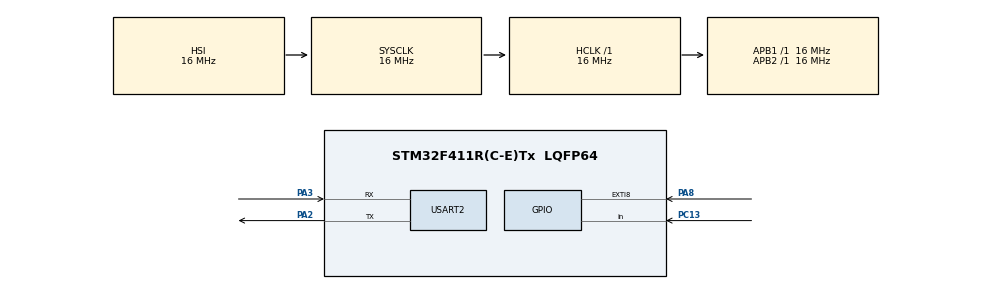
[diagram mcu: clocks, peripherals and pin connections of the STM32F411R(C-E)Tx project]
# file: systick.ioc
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Mcu.Family=STM32F4
Mcu.Name=STM32F411R(C-E)Tx
Mcu.Package=LQFP64
NVIC.PriorityGroup=NVIC_PRIORITYGROUP_4
NVIC.USART2_IRQn=true\:0\:0\:false\:false\:true\:true\:true\:true
PA2.Mode=Asynchronous
PA2.Signal=USART2_TX
PA3.Mode=Asynchronous
PA3.Signal=USART2_RX
PA8.Signal=GPXTI8
PC13-ANTI_TAMP.Signal=GPIO_Input
ProjectManager.HeapSize=0x200
ProjectManager.StackSize=0x400
ProjectManager.TargetToolchain=STM32CubeIDE
RCC.AHBFreq_Value=16000000
RCC.APB1Freq_Value=16000000
RCC.APB2Freq_Value=16000000
RCC.CortexFreq_Value=16000000
RCC.HSE_VALUE=25000000
RCC.HSI_VALUE=16000000
RCC.LSE_VALUE=32768
RCC.SYSCLKFreq_VALUE=16000000
RCC.VCOOutputFreq_Value=192000000
USART2.VirtualMode=VM_ASYNC
board=custom

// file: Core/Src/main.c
/* USER CODE BEGIN Header */
/**
  ******************************************************************************
  * @file           : main.c
  * @brief          : Main program body
  ******************************************************************************
  * @attention
  *
  * Copyright (c) 2024 STMicroelectronics.
  * All rights reserved.
  *
  * This software is licensed under terms that can be found in the LICENSE file
  * in the root directory of this software component.
  * If no LICENSE file comes with this software, it is provided AS-IS.
  *
  ******************************************************************************
  */
/* USER CODE END Header */
#include "main.h"

/* USER CODE BEGIN Includes */
#include "uart.h"
#include <stdbool.h> // for boolean
#include <stdio.h> // for printf
/* USER CODE END Includes */

UART_HandleTypeDef huart2;

void SystemClock_Config(void);
static void MX_GPIO_Init(void);
static void MX_USART2_UART_Init(void);

/* USER CODE BEGIN 0 */
//채터링 제거
bool curSwitch;
//이동 시간 동작
int countA;
int countB;
void SystickCallback(){
	if(countA > 0) countA--;
	if(countB > 0) countB--;
	static uint32_t bufSwitch = 0x5555555;
	//update state of switch
	bufSwitch = bufSwitch << 1;
	if(HAL_GPIO_ReadPin(GPIOA, GPIO_PIN_8) == 0)
		bufSwitch += 0;
	else
		bufSwitch += 1;
	//judgement switch
	if(bufSwitch == 0xfffffff) curSwitch = 1;
	if(bufSwitch == 0x0000000) curSwitch = 0;
}
/* USER CODE END 0 */

int main(void)
{

  /* MCU Configuration--------------------------------------------------------*/

  /* Reset of all peripherals, Initializes the Flash interface and the Systick. */
  HAL_Init();

  /* Configure the system clock */
  SystemClock_Config();

  /* Initialize all configured peripherals */
  MX_GPIO_Init();
  MX_USART2_UART_Init();
  /* USER CODE BEGIN 2 */
  initUart(&huart2);
  uint8_t count;
  bool oldSwitch = curSwitch;
  bool curSwitchState;
  /* USER CODE END 2 */

  /* Infinite loop */
  /* USER CODE BEGIN WHILE */
  while (1)
  {

  	if (curSwitch != oldSwitch){
  		// down
  		if (curSwitch == 0){
  			count++;
  			printf("count = %d\n", count);
  			if(count == 40) countB=-1; //40이 되는 순간 켜지고
  			if(count == 0) countB=0; //50이 되는 순간 꺼진다
  		}
  		//up
  		if (curSwitch == 1){

  		}
  		//update state
  		oldSwitch = curSwitch;
  	}
  	if (countA==0){
  		countA = 523;
  		printf("count A\n");
  	}
  	if (countB==0){
  		countB = 762;
  		printf("count B\n");
  	}
    /* USER CODE END WHILE */

  }
}

void SystemClock_Config(void)
{
  RCC_OscInitTypeDef RCC_OscInitStruct = {0};
  RCC_ClkInitTypeDef RCC_ClkInitStruct = {0};

  /** Configure the main internal regulator output voltage
  */
  __HAL_RCC_PWR_CLK_ENABLE();
  __HAL_PWR_VOLTAGESCALING_CONFIG(PWR_REGULATOR_VOLTAGE_SCALE1);

  /** Initializes the RCC Oscillators according to the specified parameters
  * in the RCC_OscInitTypeDef structure.
  */
  RCC_OscInitStruct.OscillatorType = RCC_OSCILLATORTYPE_HSI;
  RCC_OscInitStruct.HSIState = RCC_HSI_ON;
  RCC_OscInitStruct.HSICalibrationValue = RCC_HSICALIBRATION_DEFAULT;
  RCC_OscInitStruct.PLL.PLLState = RCC_PLL_NONE;
  if (HAL_RCC_OscConfig(&RCC_OscInitStruct) != HAL_OK)
  {
    Error_Handler();
  }

  /** Initializes the CPU, AHB and APB buses clocks
  */
  RCC_ClkInitStruct.ClockType = RCC_CLOCKTYPE_HCLK|RCC_CLOCKTYPE_SYSCLK
                              |RCC_CLOCKTYPE_PCLK1|RCC_CLOCKTYPE_PCLK2;
  RCC_ClkInitStruct.SYSCLKSource = RCC_SYSCLKSOURCE_HSI;
  RCC_ClkInitStruct.AHBCLKDivider = RCC_SYSCLK_DIV1;
  RCC_ClkInitStruct.APB1CLKDivider = RCC_HCLK_DIV1;
  RCC_ClkInitStruct.APB2CLKDivider = RCC_HCLK_DIV1;

  if (HAL_RCC_ClockConfig(&RCC_ClkInitStruct, FLASH_LATENCY_0) != HAL_OK)
  {
    Error_Handler();
  }
}

static void MX_USART2_UART_Init(void)
{

  huart2.Instance = USART2;
  huart2.Init.BaudRate = 115200;
  huart2.Init.WordLength = UART_WORDLENGTH_8B;
  huart2.Init.StopBits = UART_STOPBITS_1;
  huart2.Init.Parity = UART_PARITY_NONE;
  huart2.Init.Mode = UART_MODE_TX_RX;
  huart2.Init.HwFlowCtl = UART_HWCONTROL_NONE;
  huart2.Init.OverSampling = UART_OVERSAMPLING_16;
  if (HAL_UART_Init(&huart2) != HAL_OK)
  {
    Error_Handler();
  }

}

static void MX_GPIO_Init(void)
{
  GPIO_InitTypeDef GPIO_InitStruct = {0};

  /* GPIO Ports Clock Enable */
  __HAL_RCC_GPIOC_CLK_ENABLE();
  __HAL_RCC_GPIOA_CLK_ENABLE();

  /*Configure GPIO pin : PC13 */
  GPIO_InitStruct.Pin = GPIO_PIN_13;
  GPIO_InitStruct.Mode = GPIO_MODE_INPUT;
  GPIO_InitStruct.Pull = GPIO_NOPULL;
  HAL_GPIO_Init(GPIOC, &GPIO_InitStruct);

  /*Configure GPIO pin : PA8 */
  GPIO_InitStruct.Pin = GPIO_PIN_8;
  GPIO_InitStruct.Mode = GPIO_MODE_IT_RISING;
  GPIO_InitStruct.Pull = GPIO_NOPULL;
  HAL_GPIO_Init(GPIOA, &GPIO_InitStruct);

}

void Error_Handler(void)
{
  __disable_irq();
  while (1)
  {
  }
}
